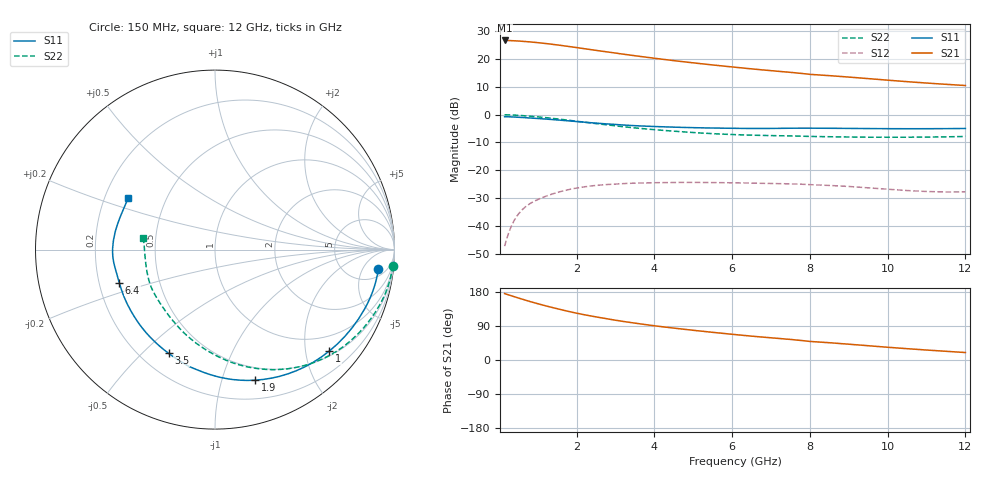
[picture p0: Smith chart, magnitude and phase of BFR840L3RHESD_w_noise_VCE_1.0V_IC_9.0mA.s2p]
! Infineon Technologies  Discrete & RF Semiconductors
! BFR840L3RHESD
! VCE =  1.0 V,  IC =  9.0 mA
! Common Emitter S-Parameters:  Jun 2012
# GHz  S  MA  R  50
!  f  S11  S21  S12  S22
! GHz  MAG  ANG  MAG  ANG  MAG  ANG  MAG  ANG
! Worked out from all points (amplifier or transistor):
!   91 points, 150 MHz to 12 GHz, reference 50 ohm
!   highest |S21| = 26.7 dB at 150 MHz (marker M1)
!   |S21| within 3 dB of that: start of sweep to 2.221 GHz
!   unconditionally stable (mu >= 1): 8.47 GHz to end of sweep
!   at 1.3 GHz: K = 0.12, MSG = 27.2 dB, |S12| = -28.9 dB
!   at 4.3 GHz: K = 0.40, MSG = 22.1 dB, |S12| = -24.5 dB
!   at 12 GHz: K = 2.10, MAG = 13.2 dB, |S12| = -27.8 dB
!   lowest NFmin = 0.66 dB at 450 MHz
!   S11 on the Smith chart (normalised r, x): 150 MHz: 8, -11; 1 GHz: 0.61, -2.51; 1.9 GHz: 0.37, -1.28; 3.5 GHz: 0.31, -0.60; 6.4 GHz: 0.29, -0.15; 12 GHz: 0.30, +0.25
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0.15  0.9158 -6.7  21.59 175.2  0.0043 80.6  0.9936 -5.2
0.3  0.9114 -13.2  21.45 170.3  0.009 77.6  0.988 -10.6
0.5  0.897 -21.6  21.09 163.7  0.0161 75.2  0.9712 -17.6
0.8  0.8702 -33.8  20.33 154.4  0.025 68.5  0.9371 -27.5
1  0.8517 -41.5  19.72 148.6  0.0296 63.3  0.9114 -33.7
1.2  0.8327 -49.0  19.05 143.1  0.0338 58.6  0.8837 -39.8
1.4  0.8129 -56.1  18.32 137.9  0.0378 54.5  0.8542 -45.5
1.6  0.7923 -63.1  17.58 132.9  0.0415 51.0  0.8233 -51.1
1.9  0.7611 -73.0  16.45 125.8  0.0463 46.0  0.7762 -58.9
2.2  0.7311 -82.1  15.36 119.4  0.0502 40.8  0.731 -66.1
2.5  0.7033 -90.3  14.33 113.8  0.0532 36.2  0.6894 -72.7
2.9  0.6722 -100.3  13.11 106.7  0.0558 31.8  0.6407 -80.7
3.2  0.6505 -107.6  12.24 101.8  0.0574 28.5  0.6062 -86.5
3.5  0.6331 -114.1  11.47 97.3  0.0585 25.8  0.5769 -91.9
4.2  0.6047 -127.7  9.935 87.8  0.0598 20.3  0.5227 -103.4
5.1  0.5809 -143.0  8.391 77.3  0.0603 14.5  0.4716 -117.0
6.1  0.5668 -157.2  7.092 66.9  0.0593 9.9  0.436 -130.7
6.4  0.5643 -161.0  6.761 64.0  0.0588 8.7  0.4291 -134.6
8  0.5703 179.1  5.302 49.0  0.055 2.9  0.4052 -155.8
8.5  0.5681 174.7  5.03 45.6  0.0532 1.8  0.4002 -160.3
10.5  0.5576 157.8  3.918 29.9  0.0431 3.7  0.3923 -178.8
12  0.5632 149.1  3.34 19.7  0.0408 14.3  0.4045 171.2
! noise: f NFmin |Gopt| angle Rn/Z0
0.45  0.66  0.35  7  0.16
0.9  0.69  0.36  12  0.16
1.9  0.72  0.37  29  0.15
3.5  0.73  0.35  49  0.14
4  0.75  0.35  59  0.14
5.5  0.78  0.36  72  0.13
7  0.85  0.35  92  0.11
8  0.91  0.33  102  0.11
10  1.01  0.32  124  0.1
12  1.16  0.28  156  0.09
